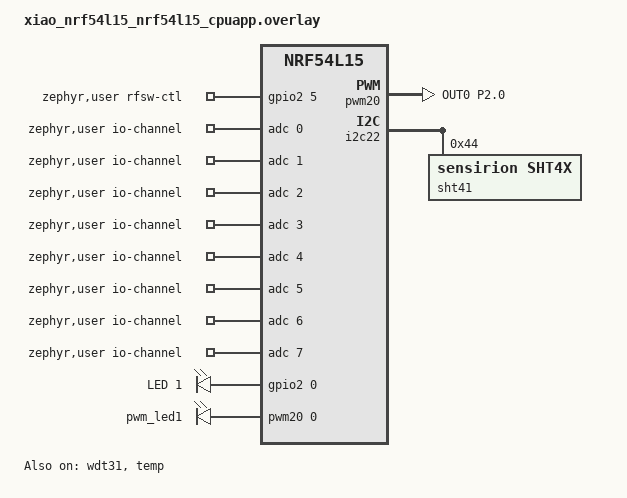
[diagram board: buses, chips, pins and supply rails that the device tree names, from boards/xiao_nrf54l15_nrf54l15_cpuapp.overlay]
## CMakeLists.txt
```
#
# Copyright (c) 2025 Nordic Semiconductor ASA
#
# SPDX-License-Identifier: LicenseRef-Nordic-5-Clause
#

cmake_minimum_required(VERSION 3.20.0)

find_package(Zephyr HINTS $ENV{ZEPHYR_BASE})

project(zanytemp)

# Enable GNU STD support.
include(${ZEPHYR_CONNECTEDHOMEIP_MODULE_DIR}/config/nrfconnect/app/enable-gnu-std.cmake)

# NORDIC SDK APP START

# Include all source files that are located in the Matter common directory.
include(${ZEPHYR_NRF_MODULE_DIR}/samples/matter/common/cmake/source_common.cmake)

# Include Data Model utils
include(${ZEPHYR_NRF_MODULE_DIR}/samples/matter/common/cmake/data_model.cmake)

include(${ZEPHYR_NRF_MODULE_DIR}/samples/matter/common/cmake/zap_helpers.cmake)
ncs_get_zap_parent_dir(ZAP_PARENT_DIR)

target_include_directories(app PRIVATE
  src
  ${ZAP_PARENT_DIR}
)

target_sources(app PRIVATE
  src/app_task.cpp
  src/main.cpp
)

ncs_configure_data_model()
# NORDIC SDK APP END
```

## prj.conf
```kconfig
#
# Copyright (c) 2025 Nordic Semiconductor ASA
#
# SPDX-License-Identifier: LicenseRef-Nordic-5-Clause
#

# Enable CHIP
CONFIG_CHIP=y
CONFIG_CHIP_PROJECT_CONFIG="src/chip_project_config.h"
CONFIG_CHIP_DEVICE_PRODUCT_NAME="Matter Temperature Sensor"

# Configure ZAP file name
CONFIG_NCS_SAMPLE_MATTER_ZAP_FILE_PATH="${APPLICATION_CONFIG_DIR}/src/default_zap/temperature_sensor.zap"

# Based on https://github.com/project-chip/connectedhomeip/blob/482e6fd03196a6de45465a90003947ef4b86e0b1/docs/examples/discussion/PID_allocation_for_example_apps.md)
CONFIG_CHIP_DEVICE_PRODUCT_ID=32781
CONFIG_STD_CPP17=y
CONFIG_GPIO=y

# Enable Matter pairing automatically on application start.
CONFIG_CHIP_ENABLE_PAIRING_AUTOSTART=y

# Enable Matter extended announcement and increase duration to 1 hour.
CONFIG_CHIP_BLE_EXT_ADVERTISING=y
CONFIG_CHIP_BLE_ADVERTISING_DURATION=60

# Add support for LEDs and buttons on Nordic development kits
CONFIG_DK_LIBRARY=y

# Bluetooth Low Energy configuration
CONFIG_BT_DEVICE_NAME="MatterTemperature"
CONFIG_BT_DEVICE_NAME_MAX=18

# Suspend devices when the CPU goes into sleep
CONFIG_PM_DEVICE=y
CONFIG_PM_DEVICE_RUNTIME=y

# Other settings
CONFIG_THREAD_NAME=y
CONFIG_MPU_STACK_GUARD=y
CONFIG_RESET_ON_FATAL_ERROR=n
CONFIG_CHIP_LIB_SHELL=y

# Reduce application size
CONFIG_USE_SEGGER_RTT=n

# Enable Factory Data feature
CONFIG_CHIP_FACTORY_DATA=y
CONFIG_CHIP_FACTORY_DATA_BUILD=y
CONFIG_LOG=y
CONFIG_LOG_BACKEND_UART=y
CONFIG_LOG_DEFAULT_LEVEL=3

# SHT41 temperature/humidity sensor
CONFIG_I2C=y
CONFIG_SENSOR=y
CONFIG_SHT4X=y

# Device identity shown in Home Assistant
CONFIG_CHIP_DEVICE_SERIAL_NUMBER="ZANYTEMP-001"
CONFIG_CHIP_DEVICE_VENDOR_NAME="Tobias Rempel"
CONFIG_CHIP_DEVICE_HARDWARE_VERSION_STRING="1.0"
CONFIG_CHIP_DEVICE_MANUFACTURING_DATE="2026-04-13"
CONFIG_CHIP_NFC_ONBOARDING_PAYLOAD=n
```

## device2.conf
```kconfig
CONFIG_CHIP_DEVICE_DISCRIMINATOR=0xF01
CONFIG_CHIP_DEVICE_SERIAL_NUMBER="ZANYTEMP-002"
CONFIG_BT_DEVICE_NAME="MatterTemp2"
```

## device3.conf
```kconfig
CONFIG_CHIP_DEVICE_DISCRIMINATOR=0xF02
CONFIG_CHIP_DEVICE_SERIAL_NUMBER="ZANYTEMP-003"
CONFIG_BT_DEVICE_NAME="MatterTemp3"
```

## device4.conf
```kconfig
CONFIG_CHIP_DEVICE_DISCRIMINATOR=0xF03
CONFIG_CHIP_DEVICE_SERIAL_NUMBER="ZANYTEMP-004"
CONFIG_BT_DEVICE_NAME="MatterTemp4"
```

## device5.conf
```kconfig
CONFIG_CHIP_DEVICE_DISCRIMINATOR=0xF04
CONFIG_CHIP_DEVICE_SERIAL_NUMBER="ZANYTEMP-005"
CONFIG_BT_DEVICE_NAME="MatterTemp5"
```

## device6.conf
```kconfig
CONFIG_CHIP_DEVICE_DISCRIMINATOR=0xF05
CONFIG_CHIP_DEVICE_SERIAL_NUMBER="ZANYTEMP-006"
CONFIG_BT_DEVICE_NAME="MatterTemp6"
```

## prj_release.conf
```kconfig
#
# Copyright (c) 2025 Nordic Semiconductor ASA
#
# SPDX-License-Identifier: LicenseRef-Nordic-5-Clause
#

# Enable CHIP
CONFIG_CHIP=y
CONFIG_CHIP_PROJECT_CONFIG="src/chip_project_config.h"
CONFIG_CHIP_DEVICE_PRODUCT_NAME="Matter Temperature Sensor"

# Configure ZAP file name
CONFIG_NCS_SAMPLE_MATTER_ZAP_FILE_PATH="${APPLICATION_CONFIG_DIR}/src/default_zap/temperature_sensor.zap"

# Based on https://github.com/project-chip/connectedhomeip/blob/482e6fd03196a6de45465a90003947ef4b86e0b1/docs/examples/discussion/PID_allocation_for_example_apps.md)
CONFIG_CHIP_DEVICE_PRODUCT_ID=32781
CONFIG_STD_CPP17=y

# Enable Matter pairing automatically on application start.
CONFIG_CHIP_ENABLE_PAIRING_AUTOSTART=y

# Enable Matter extended announcement and increase duration to 1 hour.
CONFIG_CHIP_BLE_EXT_ADVERTISING=y
CONFIG_CHIP_BLE_ADVERTISING_DURATION=60

# Add support for LEDs and buttons on Nordic development kits
CONFIG_DK_LIBRARY=y

# Try to disable unused RAM blocks to reduce power consumption
CONFIG_RAM_POWER_DOWN_LIBRARY=y

# Bluetooth Low Energy configuration
CONFIG_BT_DEVICE_NAME="MatterTemperature"
CONFIG_BT_DEVICE_NAME_MAX=18

# Suspend devices when the CPU goes into sleep
CONFIG_PM_DEVICE=y
CONFIG_PM_DEVICE_RUNTIME=y

# Enable system reset on fatal error
CONFIG_RESET_ON_FATAL_ERROR=y

# Disable all debug features
CONFIG_USE_SEGGER_RTT=n
CONFIG_SHELL=n
CONFIG_OPENTHREAD_SHELL=n
CONFIG_CONSOLE=n
CONFIG_UART_CONSOLE=n
CONFIG_SERIAL=n
CONFIG_LOG=n
CONFIG_LOG_MODE_MINIMAL=n
CONFIG_ASSERT_VERBOSE=n
CONFIG_ASSERT_NO_FILE_INFO=y
CONFIG_PRINTK=n
CONFIG_PRINTK_SYNC=n
CONFIG_THREAD_NAME=n
CONFIG_BOOT_BANNER=n

# Enable Factory Data feature
CONFIG_CHIP_FACTORY_DATA=y
CONFIG_CHIP_FACTORY_DATA_BUILD=y

# Device identity shown in Home Assistant
CONFIG_CHIP_DEVICE_SERIAL_NUMBER="ZANYTEMP-001"
CONFIG_CHIP_DEVICE_VENDOR_NAME="Tobias Rempel"
CONFIG_CHIP_DEVICE_HARDWARE_VERSION_STRING="1.0"
CONFIG_CHIP_DEVICE_MANUFACTURING_DATE="2026-04-13"
CONFIG_CHIP_NFC_ONBOARDING_PAYLOAD=n

# Enable Watchdog
CONFIG_NCS_SAMPLE_MATTER_WATCHDOG=y

# Enable LTO to decrease the flash usage.
CONFIG_LTO=y
CONFIG_ISR_TABLES_LOCAL_DECLARATION=y

# SHT41 temperature/humidity sensor
CONFIG_I2C=y
CONFIG_SENSOR=y
CONFIG_SHT4X=y
```

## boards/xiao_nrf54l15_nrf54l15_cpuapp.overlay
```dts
/*
 * Copyright (c) 2024 Nordic Semiconductor ASA
 *
 * SPDX-License-Identifier: LicenseRef-Nordic-5-Clause
 */

/ {
	chosen {
		/* Required by FactoryDataProvider to access internal flash */
		zephyr,flash-controller = &rram_controller;
	};

	zephyr,user {
		io-channels = <&adc 0>, <&adc 1>, <&adc 2>, <&adc 3>,
			<&adc 4>, <&adc 5>, <&adc 6>, <&adc 7>;
		rfsw-ctl-gpios = <&gpio2 5 GPIO_ACTIVE_HIGH>;
	};

	leds {
		/* Add led1 alias pointing to the same onboard LED (P2.0)
		 * so the Matter DK board module can init both LED1 and LED2. */
		led1: led_1 {
			gpios = <&gpio2 0 GPIO_ACTIVE_HIGH>;
			label = "LED 1";
		};
	};

	aliases {
		/* Use watchdog wdt31 as the application watchdog */
		watchdog0 = &wdt31;
		/* Configure PWM module for led1 (onboard LED on P2.0) */
		pwm-led1 = &pwm_led1;
		led1 = &led1;
	};

	pwmleds {
		compatible = "pwm-leds";
		pwm_led1: pwm_led_1 {
			pwms = <&pwm20 0 PWM_MSEC(20) PWM_POLARITY_NORMAL>;
		};
	};
};



&wdt31 {
	status = "okay";
};

&temp {
	status = "okay";
};

&pdm20 {
	status = "disabled";
};

&pwm20 {
	status = "okay";
	pinctrl-0 = <&pwm20_default>;
	pinctrl-1 = <&pwm20_sleep>;
	pinctrl-names = "default", "sleep";
};

&pinctrl {
	pwm20_default: pwm20_default {
		group1 {
			psels = <NRF_PSEL(PWM_OUT0, 2, 0)>;
		};
	};
	pwm20_sleep: pwm20_sleep {
		group1 {
			psels = <NRF_PSEL(PWM_OUT0, 2, 0)>;
			low-power-enable;
		};
	};
};

/* SHT41 temperature/humidity sensor on D4 (SDA) and D5 (SCL) = i2c22 */
&i2c22 {
	sht41: sht4x@44 {
		compatible = "sensirion,sht4x";
		reg = <0x44>;
		repeatability = <2>; /* high repeatability, 8.2 ms measurement time */
	};
};

/* restore full RRAM and SRAM space - by default some parts are dedicated to FLRP */
&cpuapp_rram {
	reg = <0x0 DT_SIZE_K(1524)>;
};

&cpuapp_sram {
	reg = <0x20000000 DT_SIZE_K(256)>;
	ranges = <0x0 0x20000000 0x40000>;
};
```

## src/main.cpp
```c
/*
 * Copyright (c) 2025 Nordic Semiconductor ASA
 *
 * SPDX-License-Identifier: LicenseRef-Nordic-5-Clause
 */

/* Blinky debug stub — comment out the Matter app below to use this */

#include <zephyr/kernel.h>
#include <zephyr/init.h>
#include <zephyr/drivers/gpio.h>
#include <zephyr/drivers/regulator.h>
#include <zephyr/devicetree.h>

#define LED0_NODE DT_ALIAS(led0)
static const struct gpio_dt_spec led = GPIO_DT_SPEC_GET(LED0_NODE, gpios);

#include "app_task.h"

#include <zephyr/logging/log.h>

LOG_MODULE_REGISTER(app, CONFIG_CHIP_APP_LOG_LEVEL);

int main()
{
	gpio_pin_configure_dt(&led, GPIO_OUTPUT_ACTIVE);
	for(int i = 0; i < 5; i++) {
		gpio_pin_toggle_dt(&led);
		printk("hehe");
		k_msleep(500);
	}

	CHIP_ERROR err = AppTask::Instance().StartApp();

	LOG_ERR("Exited with code %" CHIP_ERROR_FORMAT, err.Format());
	return err == CHIP_NO_ERROR ? EXIT_SUCCESS : EXIT_FAILURE;
}

static int rf_switch_select_ceramic(void)
{
	static const struct gpio_dt_spec rfswctl = GPIO_DT_SPEC_GET(DT_NODELABEL(rfsw_ctl), enable_gpios); // RF switch control pin GPIO2.5 (0 = onboard antenna)
	static const struct device *const rfsw_reg = DEVICE_DT_GET(DT_NODELABEL(rfsw_pwr)); // RF switch power pin GPIO2.3 (1 = VDD to the switch)

	/* RF switch for onboard antenna requires power to be enabled */
	regulator_enable(rfsw_reg);         	// on board rfsw power: ON
	return gpio_pin_set_dt(&rfswctl, 0);		    // set antenna switch position to onboard antenna
}
SYS_INIT(rf_switch_select_ceramic, APPLICATION, 0);
```

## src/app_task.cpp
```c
/*
 * Copyright (c) 2025 Nordic Semiconductor ASA
 *
 * SPDX-License-Identifier: LicenseRef-Nordic-5-Clause
 */

#include "app_task.h"

#include "app/matter_init.h"
#include "app/task_executor.h"
#include "board/board.h"
#include "clusters/identify.h"
#include "lib/core/CHIPError.h"

#include <app-common/zap-generated/attributes/Accessors.h>

#include <zephyr/drivers/i2c.h>
#include <zephyr/drivers/sensor.h>
#include <zephyr/logging/log.h>

LOG_MODULE_DECLARE(app, CONFIG_CHIP_APP_LOG_LEVEL);

using namespace ::chip;
using namespace ::chip::app;
using namespace ::chip::DeviceLayer;

namespace
{
constexpr chip::EndpointId kTemperatureSensorEndpointId = 1;

Nrf::Matter::IdentifyCluster sIdentifyCluster(kTemperatureSensorEndpointId);

constexpr uint32_t kFactoryResetTriggerMs = 3000;
constexpr Nrf::ButtonMask kFactoryResetButtonMask = DK_BTN1_MSK;

#ifdef CONFIG_CHIP_ICD_UAT_SUPPORT
#define UAT_BUTTON_MASK 1
#endif
} /* namespace */

void AppTask::RunHeaterCycle()
{
	/* SHT41 heater command bytes: low/short, med/short, med/long */
	static const uint8_t heater_cmds[] = { 0x15, 0x24, 0x2F };
	static const struct i2c_dt_spec sht41_i2c = I2C_DT_SPEC_GET(DT_NODELABEL(sht41));

	uint8_t cmd = heater_cmds[mHeaterEscalationLevel];
	int rc = i2c_write_dt(&sht41_i2c, &cmd, 1);
	if (rc) {
		LOG_ERR("Heater command failed: %d", rc);
	} else {
		LOG_INF("Heater fired (level %d, cmd 0x%02x)", mHeaterEscalationLevel, cmd);
	}

	if (mHeaterEscalationLevel < 2) {
		mHeaterEscalationLevel++;
	}
}

void AppTask::FactoryResetTimerCallback(k_timer *)
{
	DeviceLayer::PlatformMgr().ScheduleWork([](intptr_t) {
		LOG_INF("Factory reset triggered.");
		chip::Server::GetInstance().ScheduleFactoryReset();
	}, 0);
}

void AppTask::ButtonEventHandler(Nrf::ButtonState state, Nrf::ButtonMask hasChanged)
{
	if (kFactoryResetButtonMask & hasChanged) {
		if (kFactoryResetButtonMask & state) {
			LOG_INF("Factory reset button pressed, hold 3s to reset.");
			k_timer_start(&Instance().mFactoryResetTimer, K_MSEC(kFactoryResetTriggerMs), K_NO_WAIT);
		} else {
			LOG_INF("Factory reset cancelled.");
			k_timer_stop(&Instance().mFactoryResetTimer);
		}
	}
}

void AppTask::UpdateSensorTimeoutCallback(k_timer *timer)
{
	if (!timer || !timer->user_data) {
		return;
	}

	DeviceLayer::PlatformMgr().ScheduleWork(
		[](intptr_t p) {
			AppTask &app = AppTask::Instance();
			const struct device *dev = app.mSht4xDev;

			int err = sensor_sample_fetch(dev);
			if (err) {
				LOG_ERR("Failed to fetch SHT41 sample: %d", err);
				return;
			}

			struct sensor_value temp_val, hum_val;
			sensor_channel_get(dev, SENSOR_CHAN_AMBIENT_TEMP, &temp_val);
			sensor_channel_get(dev, SENSOR_CHAN_HUMIDITY, &hum_val);

			/* Matter temperature cluster: int16_t = 100 × °C (0.01 °C resolution) */
			int16_t temperature =
				(int16_t)(temp_val.val1 * 100 + temp_val.val2 / 10000);

			/* Matter humidity cluster: uint16_t = 100 × %RH (0.01 %RH resolution) */
			uint16_t humidity =
				(uint16_t)(hum_val.val1 * 100 + hum_val.val2 / 10000);

			/* Anti-condensation heater state machine */
			if (app.mHeaterState == HeaterState::Idle) {
				/* 6500 = 65 °C in Matter units; SHT41 heater must not run above that */
				if (temperature < 6500 &&
				    humidity >= kHighHumidityThreshold) {
					app.mHighHumidityCount++;
					if (app.mHighHumidityCount >= kCondensationTriggerCount) {
						app.RunHeaterCycle();
						app.mHeaterState        = HeaterState::Cooldown;
						app.mCooldownCyclesLeft = kHeaterCooldownCycles;
						app.mHighHumidityCount  = 0;
					}
				} else {
					app.mHighHumidityCount     = 0;
					app.mHeaterEscalationLevel = 0;
				}
			} else { /* Cooldown */
				app.mCooldownCyclesLeft--;
				if (humidity < kHighHumidityThreshold) {
					app.mHeaterEscalationLevel = 0;
				}
				if (app.mCooldownCyclesLeft == 0) {
					app.mHeaterState = HeaterState::Idle;
				}
			}

			if (app.mHeaterState == HeaterState::Cooldown) {
				LOG_INF("Temperature: %d.%02d °C, Humidity: %d.%02d %% [heater cooldown %d/%d]",
					temperature / 100, abs(temperature % 100),
					humidity / 100, humidity % 100,
					kHeaterCooldownCycles - app.mCooldownCyclesLeft,
					kHeaterCooldownCycles);
			} else if (app.mHighHumidityCount > 0) {
				LOG_INF("Temperature: %d.%02d °C, Humidity: %d.%02d %% [high RH %d/%d]",
					temperature / 100, abs(temperature % 100),
					humidity / 100, humidity % 100,
					app.mHighHumidityCount, kCondensationTriggerCount);
			} else {
				LOG_INF("Temperature: %d.%02d °C, Humidity: %d.%02d %%",
					temperature / 100, abs(temperature % 100),
					humidity / 100, humidity % 100);
			}

			Protocols::InteractionModel::Status status =
				Clusters::TemperatureMeasurement::Attributes::MeasuredValue::Set(
					kTemperatureSensorEndpointId, temperature);
			if (status != Protocols::InteractionModel::Status::Success) {
				LOG_ERR("Updating temperature measurement failed %x",
					to_underlying(status));
			}

			status = Clusters::RelativeHumidityMeasurement::Attributes::MeasuredValue::Set(
				kTemperatureSensorEndpointId, humidity);
			if (status != Protocols::InteractionModel::Status::Success) {
				LOG_ERR("Updating humidity measurement failed %x",
					to_underlying(status));
			}
		},
		reinterpret_cast<intptr_t>(timer->user_data));
}

CHIP_ERROR AppTask::Init()
{
	k_timer_init(&mFactoryResetTimer, FactoryResetTimerCallback, nullptr);

	mSht4xDev = DEVICE_DT_GET(DT_NODELABEL(sht41));
	if (!device_is_ready(mSht4xDev)) {
		LOG_ERR("SHT41 sensor not ready");
		return CHIP_ERROR_INCORRECT_STATE;
	}

	/* Initialize Matter stack */
	ReturnErrorOnFailure(Nrf::Matter::PrepareServer());

	if (!Nrf::GetBoard().Init(ButtonEventHandler)) {
		LOG_ERR("User interface initialization failed.");
		return CHIP_ERROR_INCORRECT_STATE;
	}

	/* Register Matter event handler that controls the connectivity status LED based on the captured Matter network
	 * state. */
	ReturnErrorOnFailure(Nrf::Matter::RegisterEventHandler(Nrf::Board::DefaultMatterEventHandler, 0));

	ReturnErrorOnFailure(sIdentifyCluster.Init());

	return Nrf::Matter::StartServer();
}

CHIP_ERROR AppTask::StartApp()
{
	ReturnErrorOnFailure(Init());

	k_timer_init(&mTimer, AppTask::UpdateSensorTimeoutCallback, nullptr);
	k_timer_user_data_set(&mTimer, this);
	k_timer_start(&mTimer, K_MSEC(kMeasurementIntervalMs), K_MSEC(kMeasurementIntervalMs));

	while (true) {
		Nrf::DispatchNextTask();
	}

	return CHIP_NO_ERROR;
}
```

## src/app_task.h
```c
/*
 * Copyright (c) 2025 Nordic Semiconductor ASA
 *
 * SPDX-License-Identifier: LicenseRef-Nordic-5-Clause
 */

#pragma once

#include "board/board.h"

#include <platform/CHIPDeviceLayer.h>
#include <zephyr/device.h>

struct Identify;

class AppTask {
public:
	static AppTask &Instance()
	{
		static AppTask sAppTask;
		return sAppTask;
	};

	CHIP_ERROR StartApp();

private:
	CHIP_ERROR Init();
	k_timer mTimer;
	k_timer mFactoryResetTimer;

	static constexpr uint16_t kMeasurementIntervalMs = 30000; /* 10 seconds */

	static void UpdateSensorTimeoutCallback(k_timer *timer);
	static void FactoryResetTimerCallback(k_timer *timer);

	static void ButtonEventHandler(Nrf::ButtonState state, Nrf::ButtonMask hasChanged);

	void RunHeaterCycle();

	const struct device *mSht4xDev = nullptr;

	/* Anti-condensation heater state */
	static constexpr uint16_t kHighHumidityThreshold  = 8500; /* 85.00 %RH in Matter units */
	static constexpr uint8_t  kCondensationTriggerCount = 3;  /* consecutive readings before heating */
	static constexpr uint8_t  kHeaterCooldownCycles    = 6;   /* measurement cycles to wait after heating */

	enum class HeaterState : uint8_t { Idle, Cooldown };
	HeaterState mHeaterState         = HeaterState::Idle;
	uint8_t     mHighHumidityCount   = 0;
	uint8_t     mCooldownCyclesLeft  = 0;
	uint8_t     mHeaterEscalationLevel = 0;
};
```
